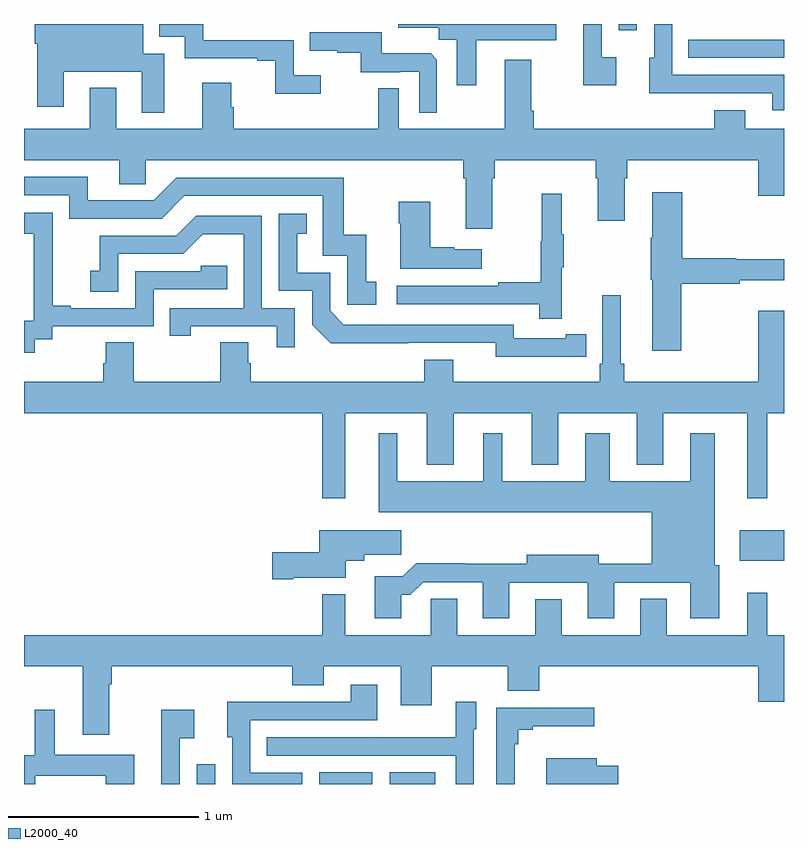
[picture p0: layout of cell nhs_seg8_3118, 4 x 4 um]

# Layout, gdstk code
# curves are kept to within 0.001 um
import gdstk
lib = gdstk.Library(unit=1e-6, precision=1e-09)
def R(c, l, rs):  # rectangles x0, y0, x1, y1
    for r in rs: c.add(gdstk.rectangle(r[:2], r[2:], *l))
def P(c, l, *ps):  # polygons
    for p in ps: c.add(gdstk.Polygon(p, *l))
L2000_40 = (2000, 40)

nhs_seg8_3118 = lib.new_cell('nhs_seg8_3118')
R(nhs_seg8_3118, L2000_40, [(305.91,1095.9,306.006,1096.003), (306.554,1095.9,306.832,1095.961), (306.926,1095.9,307.165,1095.961), (308.766,1097.075,309,1097.236), (308.497,1099.722,309,1099.818), (308.13,1099.866,308.226,1099.9)])
P(nhs_seg8_3118, L2000_40, [(307.381,1099.814),(307.801,1099.814),(307.801,1099.9),(306.971,1099.9),(306.971,1099.88),(307.182,1099.88),(307.182,1099.816),(307.277,1099.816),(307.277,1099.578),(307.381,1099.578)],
  [(305.737,1099.743),(305.628,1099.743),(305.628,1099.9),(305.057,1099.9),(305.057,1099.796),(305.069,1099.796),(305.069,1099.464),(305.209,1099.464),(305.209,1099.649),(305.621,1099.649),(305.621,1099.434),(305.737,1099.434)],
  [(309,1099.632),(308.412,1099.632),(308.412,1099.9),(308.316,1099.9),(308.316,1099.722),(308.291,1099.722),(308.291,1099.535),(308.509,1099.535),(308.509,1099.536),(308.939,1099.536),(308.939,1099.446),(309,1099.446)],
  [(306.562,1099.63),(306.42,1099.63),(306.42,1099.815),(305.943,1099.815),(305.943,1099.9),(305.713,1099.9),(305.713,1099.833),(305.847,1099.833),(305.847,1099.719),(306.227,1099.719),(306.227,1099.707),(306.322,1099.707),(306.322,1099.532),(306.562,1099.532)],
  [(308.116,1099.726),(308.04,1099.726),(308.04,1099.9),(307.943,1099.9),(307.943,1099.578),(308.116,1099.578)],
  [(307.173,1099.713),(307.141,1099.745),(306.883,1099.745),(306.883,1099.857),(306.505,1099.857),(306.505,1099.76),(306.649,1099.76),(306.649,1099.749),(306.773,1099.749),(306.773,1099.647),(306.98,1099.647),(306.98,1099.65),(307.08,1099.65),(307.08,1099.433),(307.173,1099.433)],
  [(307.465,1099.088),(307.478,1099.088),(307.478,1099.184),(308.009,1099.184),(308.009,1099.088),(308.021,1099.088),(308.021,1098.864),(308.161,1098.864),(308.161,1099.088),(308.174,1099.088),(308.174,1099.184),(308.864,1099.184),(308.864,1098.996),(309,1098.996),(309,1099.348),(308.797,1099.348),(308.797,1099.447),(308.633,1099.447),(308.633,1099.348),(307.682,1099.348),(307.682,1099.444),(307.669,1099.444),(307.669,1099.711),(307.529,1099.711),(307.529,1099.348),(306.972,1099.348),(306.972,1099.562),(306.864,1099.562),(306.864,1099.348),(306.104,1099.348),(306.104,1099.461),(306.091,1099.461),(306.091,1099.591),(305.939,1099.591),(305.939,1099.348),(305.485,1099.348),(305.485,1099.564),(305.345,1099.564),(305.345,1099.348),(305,1099.348),(305,1099.184),(305.501,1099.184),(305.501,1099.057),(305.64,1099.057),(305.64,1099.184),(307.313,1099.184),(307.313,1099.088),(307.325,1099.088),(307.325,1098.822),(307.465,1098.822)],
  [(306.853,1098.543),(306.8,1098.543),(306.8,1098.79),(306.682,1098.79),(306.682,1099.092),(305.802,1099.092),(305.682,1098.972),(305.335,1098.972),(305.335,1099.095),(305,1099.095),(305,1098.999),(305.238,1098.999),(305.238,1098.876),(305.724,1098.876),(305.844,1098.996),(306.573,1098.996),(306.573,1098.681),(306.702,1098.681),(306.702,1098.423),(306.853,1098.423)],
  [(308.46,1098.532),(308.768,1098.532),(308.768,1098.551),(309,1098.551),(309,1098.661),(308.748,1098.661),(308.748,1098.668),(308.465,1098.668),(308.465,1099.015),(308.306,1099.015),(308.306,1098.776),(308.299,1098.776),(308.299,1098.555),(308.306,1098.555),(308.306,1098.18),(308.46,1098.18)],
  [(307.829,1098.619),(307.84,1098.619),(307.84,1098.793),(307.829,1098.793),(307.829,1099.006),(307.726,1099.006),(307.726,1098.756),(307.719,1098.756),(307.719,1098.542),(307.495,1098.542),(307.495,1098.522),(306.963,1098.522),(306.963,1098.426),(307.711,1098.426),(307.711,1098.348),(307.829,1098.348)],
  [(307.408,1098.715),(307.265,1098.715),(307.265,1098.725),(307.138,1098.725),(307.138,1098.964),(306.973,1098.964),(306.973,1098.851),(306.98,1098.851),(306.98,1098.611),(307.408,1098.611)],
  [(305.056,1098.241),(305.148,1098.241),(305.148,1098.309),(305.682,1098.309),(305.682,1098.504),(306.071,1098.504),(306.071,1098.627),(305.931,1098.627),(305.931,1098.6),(305.586,1098.6),(305.586,1098.405),(305.245,1098.405),(305.245,1098.418),(305.15,1098.418),(305.15,1098.701),(305.151,1098.701),(305.151,1098.907),(305,1098.907),(305,1098.797),(305.051,1098.797),(305.051,1098.569),(305.052,1098.569),(305.052,1098.339),(305,1098.339),(305,1098.171),(305.056,1098.171)],
  [(307.85,1098.15),(307.958,1098.15),(307.958,1098.266),(307.85,1098.266),(307.85,1098.246),(307.578,1098.246),(307.578,1098.318),(306.684,1098.318),(306.612,1098.39),(306.612,1098.591),(306.439,1098.591),(306.439,1098.795),(306.488,1098.795),(306.488,1098.901),(306.342,1098.901),(306.342,1098.495),(306.516,1098.495),(306.516,1098.318),(306.614,1098.221),(307.482,1098.222),(307.482,1098.149)],
  [(306.426,1098.405),(306.252,1098.405),(306.252,1098.891),(305.906,1098.891),(305.801,1098.786),(305.398,1098.786),(305.398,1098.601),(305.349,1098.601),(305.349,1098.492),(305.496,1098.492),(305.496,1098.69),(305.838,1098.69),(305.942,1098.794),(306.156,1098.794),(306.156,1098.405),(305.767,1098.405),(305.767,1098.258),(305.878,1098.258),(305.878,1098.309),(306.329,1098.309),(306.329,1098.198),(306.426,1098.198)],
  [(306.691,1097.852),(307.121,1097.852),(307.121,1097.579),(307.261,1097.579),(307.261,1097.852),(307.673,1097.852),(307.673,1097.579),(307.813,1097.579),(307.813,1097.852),(308.225,1097.852),(308.225,1097.579),(308.365,1097.579),(308.365,1097.852),(308.807,1097.852),(308.807,1097.403),(308.911,1097.403),(308.911,1097.852),(309,1097.852),(309,1098.391),(308.864,1098.391),(308.864,1098.016),(308.159,1098.016),(308.159,1098.112),(308.14,1098.112),(308.14,1098.472),(308.043,1098.472),(308.043,1098.112),(308.03,1098.112),(308.03,1098.016),(307.258,1098.016),(307.258,1098.133),(307.106,1098.133),(307.106,1098.016),(306.194,1098.016),(306.194,1098.114),(306.181,1098.114),(306.181,1098.224),(306.034,1098.224),(306.034,1098.016),(305.577,1098.016),(305.577,1098.224),(305.429,1098.224),(305.429,1098.114),(305.417,1098.114),(305.417,1098.016),(305,1098.016),(305,1097.852),(306.57,1097.852),(306.57,1097.403),(306.691,1097.403)],
  [(306.985,1096.895),(307.034,1096.895),(307.101,1096.962),(307.415,1096.962),(307.415,1096.773),(307.555,1096.773),(307.555,1096.959),(307.967,1096.958),(307.967,1096.773),(308.107,1096.773),(308.107,1096.959),(308.507,1096.959),(308.507,1096.773),(308.659,1096.773),(308.659,1097.052),(308.635,1097.052),(308.635,1097.746),(308.507,1097.746),(308.507,1097.494),(308.083,1097.494),(308.083,1097.746),(307.955,1097.746),(307.955,1097.494),(307.516,1097.494),(307.516,1097.746),(307.418,1097.746),(307.418,1097.494),(306.964,1097.494),(306.964,1097.746),(306.866,1097.746),(306.866,1097.33),(308.303,1097.33),(308.303,1097.06),(308.026,1097.06),(308.026,1097.107),(307.646,1097.107),(307.646,1097.06),(307.319,1097.06),(307.319,1097.063),(307.064,1097.063),(306.994,1096.993),(306.845,1096.993),(306.845,1096.773),(306.985,1096.773)],
  [(306.418,1096.985),(306.694,1096.985),(306.694,1097.075),(306.79,1097.075),(306.79,1097.107),(306.985,1097.107),(306.985,1097.236),(306.554,1097.236),(306.554,1097.12),(306.306,1097.12),(306.306,1096.978),(306.418,1096.978)],
  [(305,1096.52),(305.309,1096.52),(305.309,1096.158),(305.449,1096.158),(305.449,1096.424),(305.462,1096.424),(305.462,1096.52),(306.413,1096.52),(306.413,1096.421),(306.577,1096.421),(306.577,1096.52),(306.983,1096.52),(306.983,1096.314),(307.147,1096.314),(307.147,1096.52),(307.547,1096.52),(307.547,1096.392),(307.711,1096.392),(307.711,1096.52),(308.864,1096.52),(308.864,1096.332),(309,1096.332),(309,1096.684),(308.911,1096.684),(308.911,1096.906),(308.807,1096.906),(308.807,1096.684),(308.383,1096.684),(308.383,1096.874),(308.243,1096.874),(308.243,1096.684),(307.831,1096.684),(307.831,1096.873),(307.691,1096.873),(307.691,1096.684),(307.279,1096.684),(307.279,1096.874),(307.14,1096.874),(307.14,1096.684),(306.691,1096.684),(306.691,1096.9),(306.57,1096.9),(306.57,1096.684),(305,1096.684)],
  [(306.465,1095.96),(306.192,1095.96),(306.192,1096.236),(306.859,1096.236),(306.859,1096.423),(306.719,1096.423),(306.719,1096.332),(306.289,1096.332),(306.289,1096.334),(306.071,1096.334),(306.071,1096.146),(306.096,1096.146),(306.096,1095.9),(306.465,1095.9)],
  [(307.368,1096.188),(307.381,1096.188),(307.381,1096.333),(307.272,1096.333),(307.272,1096.147),(306.955,1096.147),(306.955,1096.146),(306.277,1096.146),(306.277,1096.05),(307.272,1096.05),(307.272,1095.9),(307.368,1095.9)],
  [(307.582,1096.109),(307.601,1096.109),(307.601,1096.186),(307.678,1096.186),(307.678,1096.205),(308.002,1096.205),(308.002,1096.302),(307.485,1096.302),(307.485,1095.9),(307.582,1095.9)],
  [(305.82,1096.142),(305.896,1096.142),(305.896,1096.291),(305.723,1096.291),(305.723,1095.9),(305.82,1095.9)],
  [(305.058,1095.944),(305.429,1095.944),(305.429,1095.9),(305.581,1095.9),(305.581,1096.054),(305.161,1096.054),(305.161,1096.291),(305.057,1096.291),(305.057,1096.052),(305,1096.052),(305,1095.9),(305.058,1095.9)],
  [(308.128,1095.997),(308.014,1095.997),(308.014,1096.036),(307.748,1096.036),(307.748,1095.9),(308.128,1095.9)])

lib.write_gds('nhs_seg8_3118.gds')
